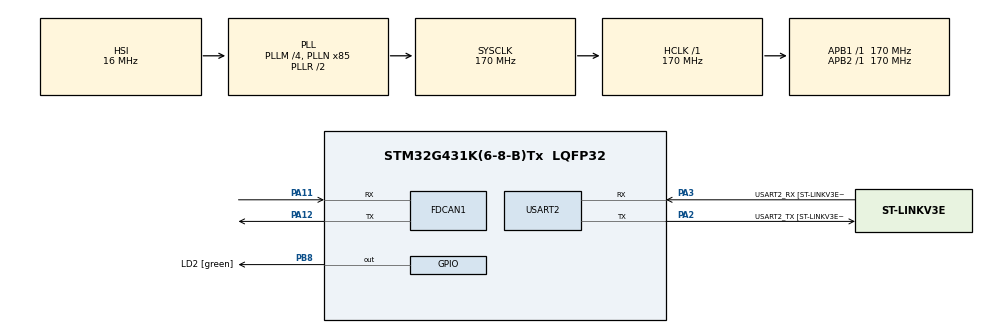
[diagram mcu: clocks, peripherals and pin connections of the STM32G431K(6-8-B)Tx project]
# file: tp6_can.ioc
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FDCAN1.CalculateBaudRateNominal=1000000
FDCAN1.CalculateTimeBitNominal=1000
FDCAN1.CalculateTimeQuantumNominal=100.0
FDCAN1.NominalPrescaler=17
FDCAN1.NominalTimeSeg1=7
Mcu.Family=STM32G4
Mcu.Name=STM32G431K(6-8-B)Tx
Mcu.Package=LQFP32
NVIC.FDCAN1_IT0_IRQn=true\:0\:0\:false\:false\:true\:true\:true\:true
NVIC.PriorityGroup=NVIC_PRIORITYGROUP_4
PA11.Mode=FDCAN_Activate
PA11.Signal=FDCAN1_RX
PA12.Mode=FDCAN_Activate
PA12.Signal=FDCAN1_TX
PA13.GPIO_Label=T_SWDIO
PA13.Mode=Serial_Wire
PA13.Signal=SYS_JTMS-SWDIO
PA14.GPIO_Label=T_SWCLK
PA14.Mode=Serial_Wire
PA14.Signal=SYS_JTCK-SWCLK
PA2.GPIO_Label=USART2_TX [ST-LINKV3E_VCP_RX]
PA2.Mode=Asynchronous
PA2.Signal=USART2_TX
PA3.GPIO_Label=USART2_RX [ST-LINKV3E_VCP_TX]
PA3.Mode=Asynchronous
PA3.Signal=USART2_RX
PB3.GPIO_Label=T_SWO
PB3.Signal=SYS_JTDO-SWO
PB8-BOOT0.GPIO_Label=LD2 [green]
PB8-BOOT0.Signal=GPIO_Output
ProjectManager.HeapSize=0x200
ProjectManager.StackSize=0x400
ProjectManager.TargetToolchain=STM32CubeIDE
RCC.ADC12Freq_Value=170000000
RCC.AHBFreq_Value=170000000
RCC.APB1Freq_Value=170000000
RCC.APB1TimFreq_Value=170000000
RCC.APB2Freq_Value=170000000
RCC.APB2TimFreq_Value=170000000
RCC.CortexFreq_Value=170000000
RCC.EXTERNAL_CLOCK_VALUE=12288000
RCC.HCLKFreq_Value=170000000
RCC.HSE_VALUE=8000000
RCC.HSI48_VALUE=48000000
RCC.HSI_VALUE=16000000
RCC.LSE_VALUE=32768
RCC.PLLM=RCC_PLLM_DIV4
RCC.PLLN=85
RCC.SYSCLKFreq_VALUE=170000000
RCC.SYSCLKSource=RCC_SYSCLKSOURCE_PLLCLK
RCC.USBFreq_Value=170000000
RCC.VCOOutputFreq_Value=340000000
USART2.VirtualMode-Asynchronous=VM_ASYNC
USART2.WordLength=WORDLENGTH_8B
VP_SYS_VS_DBSignals.Mode=DisableDeadBatterySignals
board=NUCLEO-G431KB

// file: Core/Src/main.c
/* USER CODE BEGIN Header */
/**
 ******************************************************************************
 * @file           : main.c
 * @brief          : Main program body
 ******************************************************************************
 * @attention
 *
 * Copyright (c) 2024 STMicroelectronics.
 * All rights reserved.
 *
 * This software is licensed under terms that can be found in the LICENSE file
 * in the root directory of this software component.
 * If no LICENSE file comes with this software, it is provided AS-IS.
 *
 ******************************************************************************
 */
/* USER CODE END Header */
#include "main.h"
#include "fdcan.h"
#include "usart.h"
#include "gpio.h"
/* USER CODE BEGIN Includes */
#include "ident.h"
#include <stdio.h>
#include <stdarg.h>
#include <deplacement.h>
#include "test.h"
/* USER CODE END Includes */

/* USER CODE BEGIN PM */
#define PUTCHAR_PROTOTYPE int __io_putchar(int ch)
PUTCHAR_PROTOTYPE {
	HAL_UART_Transmit(&huart2, (uint8_t*) &ch, 1, HAL_MAX_DELAY);
	return ch;
}
/* USER CODE END PM */

/* USER CODE BEGIN PV */
uint16_t marker1 = 0;
T_FDCAN_trame_rx trame_rx;
T_FDCAN_trame_rx buffer_trame_rx[32];
uint8_t curseur = 0;
char tableau_ecran[65];
uint8_t jog_value = 0;
uint8_t cod_value = 0;
uint16_t valeur_afficher;
/* USER CODE END PV */

void SystemClock_Config(void);

int main(void) {

	/* MCU Configuration--------------------------------------------------------*/

	/* Reset of all peripherals, Initializes the Flash interface and the Systick. */
	HAL_Init();

	/* Configure the system clock */
	SystemClock_Config();

	/* Initialize all configured peripherals */
	MX_GPIO_Init();
	MX_USART2_UART_Init();
	MX_FDCAN1_Init();
	/* USER CODE BEGIN 2 */

	printf("En vie\n");

	HAL_FDCAN_Start(&hfdcan1);
	HAL_FDCAN_ActivateNotification(&hfdcan1, FDCAN_IT_RX_FIFO0_NEW_MESSAGE, 0);
	LCD_clear();

	/* Infinite loop */
	/* USER CODE BEGIN WHILE */
	while (1) {

		JOG_read();
		COD_read();
		automate_decode_IHM();
		test_composants_voiture () ;

		//TODO : Bloque la réception des trames lidar

		valeur_afficher = valeur_cod & 0x00FF;

		BAR_set(valeur_cod);

		/* USER CODE END WHILE */

	}
}

void SystemClock_Config(void) {
	RCC_OscInitTypeDef RCC_OscInitStruct = { 0 };
	RCC_ClkInitTypeDef RCC_ClkInitStruct = { 0 };

	/** Configure the main internal regulator output voltage
	 */
	HAL_PWREx_ControlVoltageScaling(PWR_REGULATOR_VOLTAGE_SCALE1_BOOST);

	/** Initializes the RCC Oscillators according to the specified parameters
	 * in the RCC_OscInitTypeDef structure.
	 */
	RCC_OscInitStruct.OscillatorType = RCC_OSCILLATORTYPE_HSI;
	RCC_OscInitStruct.HSIState = RCC_HSI_ON;
	RCC_OscInitStruct.HSICalibrationValue = RCC_HSICALIBRATION_DEFAULT;
	RCC_OscInitStruct.PLL.PLLState = RCC_PLL_ON;
	RCC_OscInitStruct.PLL.PLLSource = RCC_PLLSOURCE_HSI;
	RCC_OscInitStruct.PLL.PLLM = RCC_PLLM_DIV4;
	RCC_OscInitStruct.PLL.PLLN = 85;
	RCC_OscInitStruct.PLL.PLLP = RCC_PLLP_DIV2;
	RCC_OscInitStruct.PLL.PLLQ = RCC_PLLQ_DIV2;
	RCC_OscInitStruct.PLL.PLLR = RCC_PLLR_DIV2;
	if (HAL_RCC_OscConfig(&RCC_OscInitStruct) != HAL_OK) {
		Error_Handler();
	}

	/** Initializes the CPU, AHB and APB buses clocks
	 */
	RCC_ClkInitStruct.ClockType = RCC_CLOCKTYPE_HCLK | RCC_CLOCKTYPE_SYSCLK
			| RCC_CLOCKTYPE_PCLK1 | RCC_CLOCKTYPE_PCLK2;
	RCC_ClkInitStruct.SYSCLKSource = RCC_SYSCLKSOURCE_PLLCLK;
	RCC_ClkInitStruct.AHBCLKDivider = RCC_SYSCLK_DIV1;
	RCC_ClkInitStruct.APB1CLKDivider = RCC_HCLK_DIV1;
	RCC_ClkInitStruct.APB2CLKDivider = RCC_HCLK_DIV1;

	if (HAL_RCC_ClockConfig(&RCC_ClkInitStruct, FLASH_LATENCY_4) != HAL_OK) {
		Error_Handler();
	}
}

/* USER CODE BEGIN 4 */
void HAL_FDCAN_RxFifo0Callback(FDCAN_HandleTypeDef *hfdcan, uint32_t RxFifo0ITs) {
	HAL_FDCAN_GetRxMessage(&hfdcan1, FDCAN_RX_FIFO0,
			&buffer_trame_rx[marker1].header,
			&buffer_trame_rx[marker1].data[0]);
	//printf("0x%X marker1 :%d \n", buffer_trame_rx[marker1].data[0], marker1);
	marker1++;

	if (marker1 == 32) {
		marker1 = 0;
	}
}

void automate_decode_IHM(void) {
	static uint16_t marker2 = 0;

	//printf("Id trame : 0x%X\n", buffer_trame_rx[marker2].header.Identifier);

	switch (buffer_trame_rx[marker2].header.Identifier) {
	case JOG_DATA:
		printf("JOG value : 0x%X\n", buffer_trame_rx[marker2].data[0]);
		jog_value = buffer_trame_rx[marker2].data[0];
		break;

	case COD_DATA:
		printf("COD value : %d\n", buffer_trame_rx[marker2].data[0]);
		cod_value = buffer_trame_rx[marker2].data[0];
		break;
	}

	marker2++;

	if (marker2 == 32) {
		marker2 = 0;
	}
}

/**
 * @brief Obtenir la valeur du JOG
 * @note Pas besoin d'attente bloaquante pour cette fonction avec IHM v2
 */
void JOG_read(void) {
	FDCAN_TxHeaderTypeDef pTxHeader = { 0 };

	pTxHeader.Identifier = JOG_REQ;
	pTxHeader.IdType = FDCAN_STANDARD_ID;
	pTxHeader.TxFrameType = FDCAN_REMOTE_FRAME;
	pTxHeader.DataLength = 0;

	uint8_t pTxData;
	HAL_FDCAN_AddMessageToTxFifoQ(&hfdcan1, &pTxHeader, &pTxData);

}

/**
 * @brief Obtenir la valeur du COD
 * @note Pas besoin d'attente bloaquante pour cette fonction avec IHM v2
 */
void COD_read(void) {
	FDCAN_TxHeaderTypeDef pTxHeader = { 0 };

	pTxHeader.Identifier = COD_REQ;
	pTxHeader.IdType = FDCAN_STANDARD_ID;
	pTxHeader.TxFrameType = FDCAN_REMOTE_FRAME;
	pTxHeader.DataLength = 0;

	uint8_t pTxData;

	HAL_FDCAN_AddMessageToTxFifoQ(&hfdcan1, &pTxHeader, &pTxData);

}

void BAR_set(uint16_t motif_BAR) {
	FDCAN_TxHeaderTypeDef pTxHeader = { 0 };

	pTxHeader.Identifier = BAR_SET;
	pTxHeader.IdType = FDCAN_STANDARD_ID;
	pTxHeader.TxFrameType = FDCAN_DATA_FRAME;
	pTxHeader.DataLength = 2;

	uint8_t pTxData[2] = { (uint8_t) (motif_BAR >> 8), (uint8_t) (motif_BAR) };
	HAL_FDCAN_AddMessageToTxFifoQ(&hfdcan1, &pTxHeader, &pTxData);

	HAL_Delay(1);
}

void LCD_gotoxy(uint8_t x, uint8_t y) {
	curseur = (y * 16 + x) % 32;
}

void LCD_clear(void) {
	uint8_t i;

	curseur = 0;

	for (i = 0; i < 32; i++)
		tableau_ecran[i] = 32;

	FDCAN_TxHeaderTypeDef pTxHeader = { 0 };

	pTxHeader.Identifier = LCD_CLEAR;
	pTxHeader.IdType = FDCAN_STANDARD_ID;
	pTxHeader.TxFrameType = FDCAN_REMOTE_FRAME;
	pTxHeader.DataLength = 0;

	uint8_t pTxData;
	HAL_FDCAN_AddMessageToTxFifoQ(&hfdcan1, &pTxHeader, &pTxData);
	HAL_Delay(1);
}

void LCD_printf(const char *format, ...) {
	uint8_t i, j;
	va_list arg;
	va_start(arg, format);

	curseur = curseur + vsprintf(tableau_ecran + curseur % 64, format, arg);

	if (curseur > 31) {
		for (i = 32; i < curseur; i++) {
			tableau_ecran[i % 32] = tableau_ecran[i];
		}
		curseur = curseur % 32;
	} else {
		for (i = 0; i < 32; i++) {
			if (tableau_ecran[i] == 0)
				tableau_ecran[i] = 20;
		}
	}
	va_end(arg);
	tableau_ecran[32] = '\0';

	for (j = 0; j < 4; j++) {
		FDCAN_TxHeaderTypeDef pTxHeader = { 0 };
		uint8_t pTxData[8];

		pTxHeader.Identifier = LCD_CHAR0 + j;
		pTxHeader.IdType = FDCAN_STANDARD_ID;
		pTxHeader.TxFrameType = FDCAN_DATA_FRAME;
		pTxHeader.DataLength = 8;

		for (i = 0; i < 8; i++)
			pTxData[i] = tableau_ecran[i + j * 8];

		HAL_FDCAN_AddMessageToTxFifoQ(&hfdcan1, &pTxHeader, &pTxData);
		HAL_Delay(1);
	}
}

/* USER CODE END 4 */

void Error_Handler(void) {
	__disable_irq();
	while (1) {
	}
}
